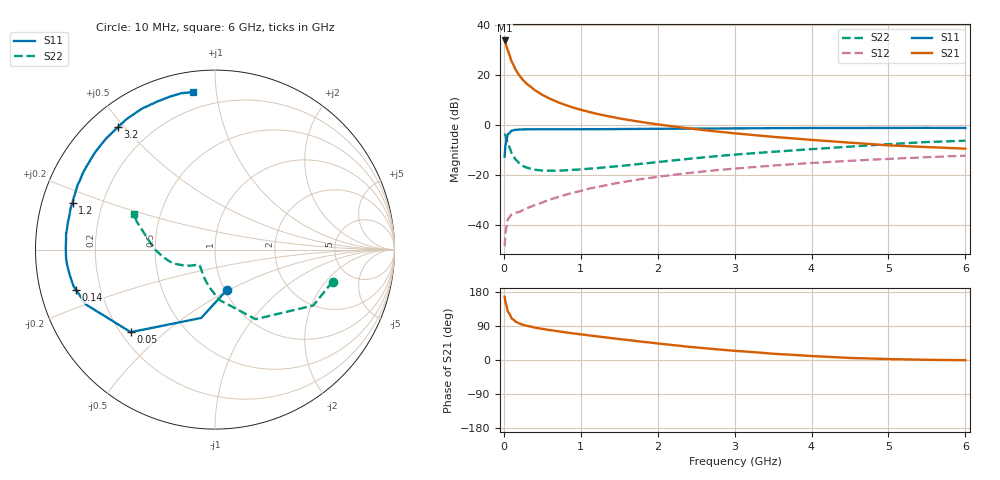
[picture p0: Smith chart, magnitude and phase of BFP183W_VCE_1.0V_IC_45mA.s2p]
! Infineon Technologies  Discrete & RF Semiconductors
! BFP183W
! VCE =  1.0 V,  IC =  45 mA
! Common Emitter S-Parameters:  Jan 2017
# GHz  S  MA  R  50
!  f  S11  S21  S12  S22
! GHz  MAG  ANG  MAG  ANG  MAG  ANG  MAG  ANG
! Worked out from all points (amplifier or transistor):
!   77 points, 10 MHz to 6 GHz, reference 50 ohm
!   highest |S21| = 34.0 dB at 10 MHz (marker M1)
!   |S21| within 3 dB of that: start of sweep to 41.12 MHz
!   unconditionally stable (mu >= 1): start of sweep to 14.34 MHz; 268.6 MHz to end of sweep
!   at 130 MHz: K = 0.62, MSG = 29.6 dB, |S12| = -35.3 dB
!   at 2.2 GHz: K = 1.43, MAG = 5.8 dB, |S12| = -19.8 dB
!   at 6 GHz: K = 1.32, MAG = -2.0 dB, |S12| = -12.1 dB
!   S11 on the Smith chart (normalised r, x): 10 MHz: 1.02, -0.49; 50 MHz: 0.24, -0.39; 140 MHz: 0.11, -0.14; 1.2 GHz: 0.09, +0.16; 3.2 GHz: 0.09, +0.48; 6 GHz: 0.11, +0.87
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0.01  0.2356 -74.1  50.1 166.8  0.0038 70.3  0.6789 -15.2
0.02  0.3883 -101.4  46.13 153.7  0.0066 67.2  0.6301 -29.6
0.05  0.6574 -135.6  32.13 128.2  0.013 44.4  0.4484 -59.8
0.1  0.7809 -156.9  19.07 109.8  0.0163 37.2  0.2806 -85.3
0.14  0.8062 -163.9  14.37 103.8  0.0175 36.0  0.2221 -95.9
0.15  0.8143 -165.6  13.23 101.7  0.0178 35.7  0.2091 -99.4
0.2  0.8226 -170.6  10.05 96.5  0.0184 38.6  0.1745 -108.8
0.25  0.8284 -174.1  8.085 92.8  0.0202 41.4  0.1538 -115.7
0.3  0.8311 -176.7  6.752 90.1  0.0219 42.9  0.1417 -121.0
0.4  0.8315 179.4  5.094 85.6  0.0251 49.6  0.1292 -128.3
0.5  0.8314 176.4  4.075 82.1  0.0285 52.7  0.1243 -132.3
0.7  0.8323 171.8  2.917 76.0  0.0364 58.9  0.123 -137.4
0.9  0.8328 167.5  2.27 70.3  0.0448 62.0  0.1285 -139.5
1.1  0.837 163.8  1.868 65.2  0.0536 63.1  0.1351 -141.1
1.2  0.8357 161.8  1.713 62.6  0.0575 63.6  0.1383 -141.8
1.6  0.8461 154.7  1.297 52.9  0.0753 63.3  0.1581 -145.9
2.1  0.8537 145.7  0.997 41.5  0.0974 61.2  0.1908 -152.4
3.1  0.8688 130.0  0.67 22.9  0.1398 54.1  0.2658 -166.5
3.2  0.8703 128.5  0.649 21.4  0.1439 53.3  0.2729 -168.1
4.1  0.884 116.2  0.498 9.5  0.1799 46.2  0.3413 178.1
5.1  0.8887 105.7  0.391 2.1  0.2162 38.1  0.4279 164.1
6  0.8862 97.8  0.341 -0.5  0.247 30.6  0.4922 156.5
